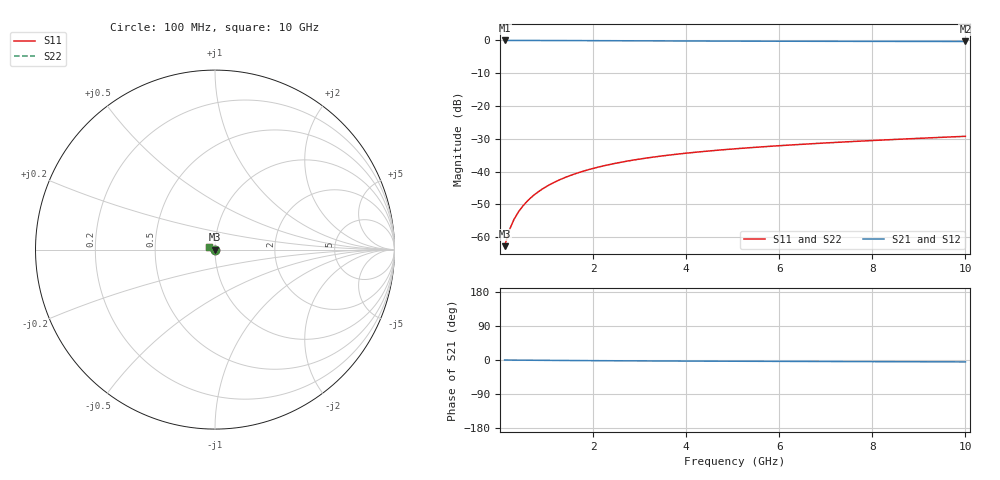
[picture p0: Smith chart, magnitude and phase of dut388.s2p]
! Touchstone file exported from HFSS 2024.1.0
!  File:  C:/UserFiles/LocalFiles/RDL_TSV_Batchsim/temp_TSV1_388_1779623484.aedt
!  Generated:  08:00:18 PM May 24, 2026
!  Design:  TSV1
!  Project:  temp_TSV1_388_1779623484
!  Setup:  Setup1
!  Solution:  Sweep
! Variables:
!  dtsv = 5.66um
!  hbump = 3um
!  htsv = 75.62um
!  lrdl = 252.1521522um
!  p = 40
!  p1 = 42.93um
!  t = 500um
!  trdl = 3um
!  wrdl = 24.89489489um
# GHz S MA R 50.000000
! Terminal data exported
! Port[1] = TSV22_T1
! Port[2] = TSV22_T2
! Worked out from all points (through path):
!   100 points, 100 MHz to 10 GHz, reference 50 ohm
!   highest |S21| = 0.00 dB at 100 MHz (marker M1); lowest = -0.3 dB at 10 GHz (marker M2)
!   lowest |S11| = -62.8 dB at 100 MHz (marker M3), VSWR 1.00, Z = 50 - j0.0604 ohm
!   |S11| at or under -10 dB: start of sweep to end of sweep
!   |S22| runs from -62.8 to -29.3 dB; largest |S21 - S12| = 5.1e-15
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0.1  0.000726 -56.2  0.9996 -0.1  0.9996 -0.1  0.000726 -56.2
! Gamma 0 0 0 0
! Port Impedance 50 0 50 0
0.2  0.00127 -74.0  0.9995 -0.2  0.9995 -0.2  0.00127 -74.0
0.3  0.00185 -82.3  0.9994 -0.3  0.9994 -0.3  0.00185 -82.3
0.4  0.002437 -87.5  0.9992 -0.4  0.9992 -0.4  0.002437 -87.5
0.5  0.003025 -91.5  0.999 -0.5  0.999 -0.5  0.003025 -91.5
0.6  0.003612 -94.7  0.9988 -0.6  0.9988 -0.6  0.003612 -94.7
0.7  0.004195 -97.6  0.9985 -0.6  0.9985 -0.6  0.004195 -97.6
0.8  0.004774 -100.3  0.9982 -0.7  0.9982 -0.7  0.004774 -100.3
0.9  0.005347 -102.7  0.9979 -0.8  0.9979 -0.8  0.005347 -102.7
1.1  0.006474 -107.3  0.9972 -1.0  0.9972 -1.0  0.006474 -107.3
1.4  0.008109 -113.6  0.9958 -1.2  0.9958 -1.2  0.008109 -113.6
1.6  0.009157 -117.5  0.9948 -1.4  0.9948 -1.4  0.009157 -117.5
1.8  0.01017 -121.2  0.9938 -1.6  0.9938 -1.6  0.01017 -121.2
2.1  0.01162 -126.6  0.9921 -1.8  0.9921 -1.8  0.01162 -126.6
2.5  0.01342 -133.4  0.9897 -2.0  0.9897 -2.0  0.01342 -133.4
2.9  0.01508 -139.6  0.9874 -2.3  0.9874 -2.3  0.01508 -139.6
3.4  0.01698 -146.9  0.9845 -2.5  0.9845 -2.5  0.01698 -146.9
4.2  0.01968 -157.3  0.9804 -2.9  0.9804 -2.9  0.01968 -157.3
5.1  0.02235 -167.4  0.9764 -3.3  0.9764 -3.3  0.02235 -167.4
6.7  0.02654 177.7  0.971 -3.9  0.971 -3.9  0.02654 177.7
8.4  0.03066 165.2  0.9671 -4.5  0.9671 -4.5  0.03066 165.2
10  0.03445 155.7  0.9644 -5.0  0.9644 -5.0  0.03445 155.7
